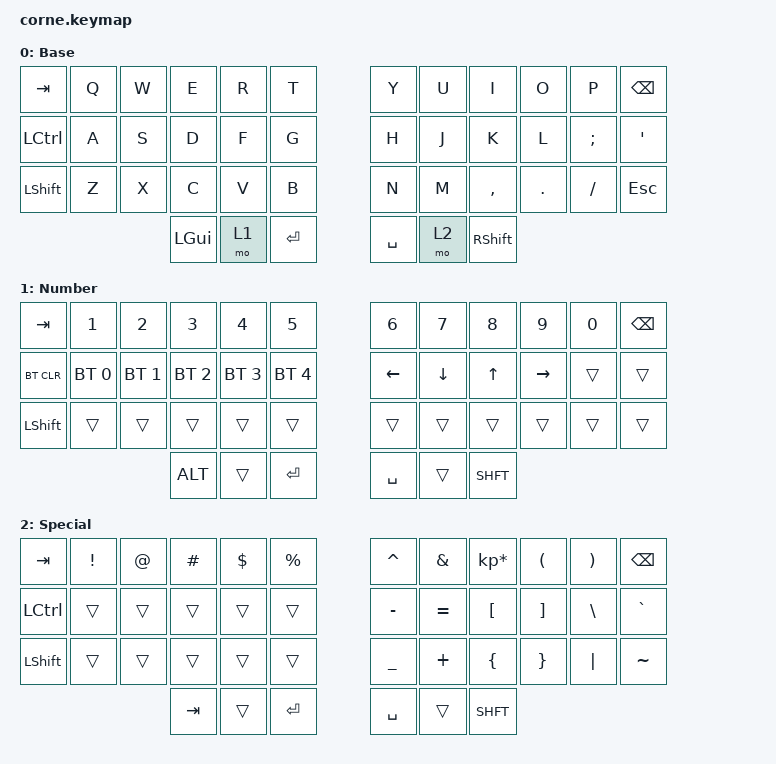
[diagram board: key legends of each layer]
/*
 * Copyright (c) 2020 The ZMK Contributors
 *
 * SPDX-License-Identifier: MIT
 */

#include <behaviors.dtsi>
#include <dt-bindings/zmk/bt.h>
#include <dt-bindings/zmk/keys.h>

/ {
    keymap {
        compatible = "zmk,keymap";

        default_layer {
            // -----------------------------------------------------------------------------------------
            // |  TAB |  Q  |  W  |  E  |  R  |  T  |   |  Y  |  U   |  I  |  O  |  P  | BKSP |
            // | CTRL |  A  |  S  |  D  |  F  |  G  |   |  H  |  J   |  K  |  L  |  ;  |  '   |
            // | SHFT |  Z  |  X  |  C  |  V  |  B  |   |  N  |  M   |  ,  |  .  |  /  | ESC  |
            //                    | ALT | LWR | ENT |   | SPC | RSE  | SHFT |

            label = "Base";
            bindings = <
&kp TAB    &kp Q  &kp W  &kp E         &kp R  &kp T      &kp Y      &kp U  &kp I      &kp O    &kp P     &kp BSPC
&kp LCTRL  &kp A  &kp S  &kp D         &kp F  &kp G      &kp H      &kp J  &kp K      &kp L    &kp SEMI  &kp SQT
&kp LSHFT  &kp Z  &kp X  &kp C         &kp V  &kp B      &kp N      &kp M  &kp COMMA  &kp DOT  &kp FSLH  &kp ESC
                         &kp LEFT_GUI  &mo 1  &kp RET    &kp SPACE  &mo 2  &kp RSHFT
            >;
        };

        lower_layer {
            // -----------------------------------------------------------------------------------------
            // |  TAB |  1  |  2  |  3  |  4  |  5  |   |  6  |  7  |  8  |  9  |  0  | BKSP |
            // | BTCLR| BT1 | BT2 | BT3 | BT4 | BT5 |   | LFT | DWN |  UP | RGT |     |      |
            // | SHFT |     |     |     |     |     |   |     |     |     |     |     |      |
            //                    | ALT |     | SPC |   | ENT |     | SHFT |

            label = "Number";
            bindings = <
&kp TAB     &kp N1        &kp N2        &kp N3        &kp N4        &kp N5          &kp N6     &kp N7    &kp N8    &kp N9     &kp N0  &kp BSPC
&bt BT_CLR  &bt BT_SEL 0  &bt BT_SEL 1  &bt BT_SEL 2  &bt BT_SEL 3  &bt BT_SEL 4    &kp LEFT   &kp DOWN  &kp UP    &kp RIGHT  &trans  &trans
&kp LSHFT   &trans        &trans        &trans        &trans        &trans          &trans     &trans    &trans    &trans     &trans  &trans
                                        &kp ALT       &trans        &kp RET         &kp SPACE  &trans    &kp SHFT
            >;
        };

        raise_layer {
            // -----------------------------------------------------------------------------------------
            // |  TAB |  !  |  @  |  #  |  $  |  %  |   |  ^  |  &  |  *  |  (  |  )  | BKSP |
            // | CTRL |     |     |     |     |     |   |  -  |  =  |  [  |  ]  |  \  |  `   |
            // | SHFT |     |     |     |     |     |   |  _  |  +  |  {  |  }  | "|" |  ~   |
            //                    | ALT |     | SPC |   | ENT |     | SHFT |

            label = "Special";
            bindings = <
&kp TAB    &kp EXCL  &kp AT  &kp HASH  &kp DLLR  &kp PRCNT    &kp CARET  &kp AMPS   &kp KP_MULTIPLY  &kp LPAR  &kp RPAR  &kp BSPC
&kp LCTRL  &trans    &trans  &trans    &trans    &trans       &kp MINUS  &kp EQUAL  &kp LBKT         &kp RBKT  &kp BSLH  &kp GRAVE
&kp LSHFT  &trans    &trans  &trans    &trans    &trans       &kp UNDER  &kp PLUS   &kp LBRC         &kp RBRC  &kp PIPE  &kp TILDE
                             &kp TAB   &trans    &kp RET      &kp SPACE  &trans     &kp SHFT
            >;
        };
    };
};
